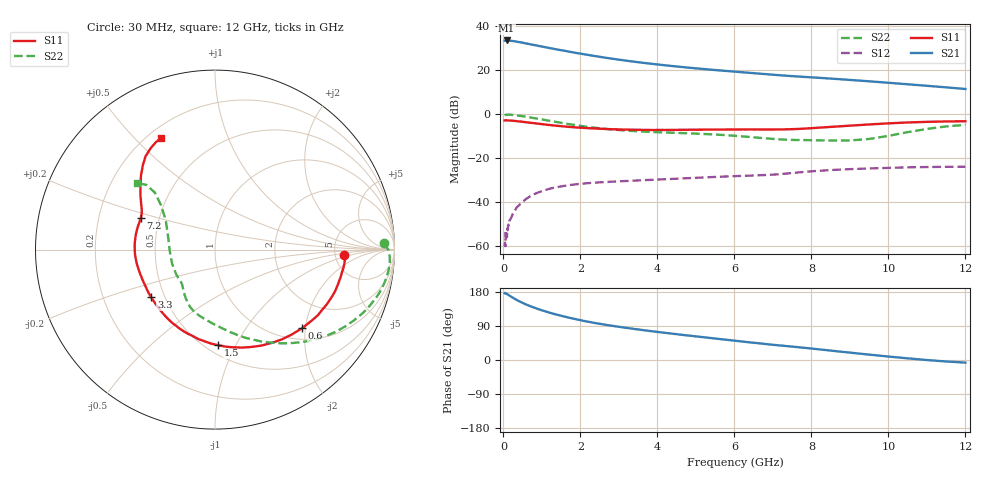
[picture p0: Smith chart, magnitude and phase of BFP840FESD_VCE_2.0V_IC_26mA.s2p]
! Infineon Technologies  Discrete & RF Semiconductors
! BFP840FESD
! VCE =  2.0 V,  IC =  26 mA
! Common Emitter S-Parameters:  May 2012
# GHz  S  MA  R  50
!  f  S11  S21  S12  S22
! GHz  MAG  ANG  MAG  ANG  MAG  ANG  MAG  ANG
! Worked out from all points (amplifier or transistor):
!   103 points, 30 MHz to 12 GHz, reference 50 ohm
!   highest |S21| = 33.5 dB at 80 MHz (marker M1)
!   |S21| within 3 dB of that: start of sweep to 1.063 GHz
!   unconditionally stable (mu >= 1): 5.6 GHz to end of sweep
!   at 400 MHz: K = 0.20, MSG = 37.1 dB, |S12| = -41.5 dB
!   at 3.7 GHz: K = 0.79, MSG = 26.6 dB, |S12| = -30.0 dB
!   at 12 GHz: K = 1.08, MAG = 16.0 dB, |S12| = -23.9 dB
!   S11 on the Smith chart (normalised r, x): 30 MHz: 6.08, -0.70; 600 MHz: 1.26, -1.92; 1.5 GHz: 0.57, -0.85; 3.3 GHz: 0.42, -0.28; 7.2 GHz: 0.39, +0.18; 12 GHz: 0.25, +0.60
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0.03  0.7208 -2.2  46.63 176.3  0.001 82.4  0.9406 2.1
0.04  0.722 -3.0  46.78 175.8  0.0012 89.6  0.9523 1.2
0.05  0.7229 -3.9  46.96 176.8  0.001 66.3  0.961 0.4
0.08  0.725 -6.2  47.33 174.8  0.0022 77.1  0.9726 -1.9
0.25  0.708 -19.1  45.84 164.0  0.0056 78.5  0.9593 -11.8
0.35  0.6932 -26.2  44.33 158.1  0.0077 74.7  0.9367 -16.7
0.45  0.6801 -32.5  42.96 153.0  0.0094 72.6  0.9109 -21.1
0.6  0.654 -42.0  40.36 146.0  0.012 67.9  0.8681 -27.1
0.8  0.6233 -53.5  37.24 138.1  0.0152 63.4  0.8125 -34.4
1  0.5934 -64.4  34.35 131.1  0.0178 59.0  0.7575 -40.9
1.3  0.5543 -79.2  30.61 122.0  0.0212 53.4  0.6814 -49.7
1.5  0.5326 -88.2  28.41 116.8  0.0228 50.4  0.6357 -55.2
1.8  0.5067 -100.6  25.45 109.4  0.025 46.5  0.5765 -62.8
2.1  0.4866 -111.4  22.96 102.9  0.0266 43.3  0.5285 -69.6
2.6  0.4629 -126.5  19.48 93.8  0.0285 40.4  0.4693 -79.2
3.3  0.4439 -143.2  15.97 83.3  0.0306 38.0  0.4176 -90.2
4.1  0.4377 -158.4  13.19 72.9  0.033 37.4  0.3863 -100.2
6.1  0.448 173.2  9.118 49.9  0.0393 37.9  0.3178 -120.7
7.2  0.4502 156.7  7.643 38.2  0.0435 40.6  0.2669 -133.5
8.5  0.5135 144.0  6.437 24.8  0.0537 37.5  0.2516 -161.7
10.5  0.6478 126.7  4.783 4.4  0.0619 29.4  0.3902 140.5
12  0.6901 115.9  3.738 -6.9  0.0638 25.9  0.572 139.5
